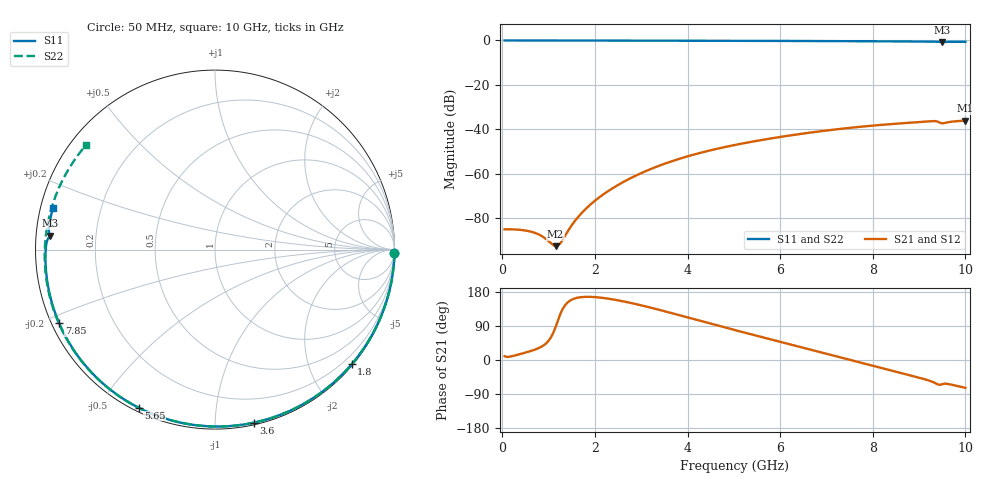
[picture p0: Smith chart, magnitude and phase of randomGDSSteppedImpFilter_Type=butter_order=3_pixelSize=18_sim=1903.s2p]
! freq	dB(S11)	phase(S11)	dB(S12)	phase(S12)
!  dB(S21)	phase(S21)	dB(S22)	phase(S22)
!S-par simulation data
#  GHz  S  DB  R 50
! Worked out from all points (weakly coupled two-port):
!   200 points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, 50 MHz to 10 GHz, reference 50 ohm
!   highest |S21| = -36.02 dB at 10 GHz (marker M1); lowest = -92.5 dB at 1.15 GHz (marker M2)
!   lowest |S11| = -0.7 dB at 9.5 GHz (marker M3), VSWR 25.06, Z = 2 + j2.08 ohm
!   |S11| at or under -10 dB: nowhere
!   |S22| runs from -0.7 to 0.0 dB; largest |S21 - S12| = 0
!   S11 on the Smith chart (normalised r, x): 50 MHz: open; 1.8 GHz: 0.03, -2.75; 3.6 GHz: 0.02, -1.25; 5.65 GHz: 0.02, -0.63; 7.85 GHz: 0.02, -0.22; 10 GHz: 0.04, +0.13
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0.05  -0.00 -1.1  -84.94 10.0  -84.94 10.0  -0.00 -1.2
0.6  -0.01 -13.6  -85.87 23.1  -85.87 23.1  -0.01 -13.9
1.15  -0.03 -25.8  -92.49 86.6  -92.49 86.6  -0.03 -26.4
1.6  -0.05 -35.7  -80.32 163.7  -80.32 163.7  -0.05 -36.5
1.75  -0.05 -38.9  -76.80 166.4  -76.80 166.4  -0.05 -39.9
1.8  -0.05 -40.0  -75.76 166.7  -75.76 166.7  -0.05 -41.0
2.1  -0.06 -46.4  -70.45 164.9  -70.45 164.9  -0.06 -47.6
2.5  -0.07 -54.9  -64.97 157.4  -64.97 157.4  -0.07 -56.4
2.95  -0.08 -64.2  -60.12 145.7  -60.12 145.7  -0.09 -66.0
3.4  -0.10 -73.3  -56.22 132.0  -56.22 132.0  -0.10 -75.5
3.6  -0.10 -77.3  -54.73 125.6  -54.73 125.6  -0.11 -79.7
4.3  -0.13 -90.8  -50.40 102.6  -50.40 102.6  -0.13 -94.1
5.05  -0.16 -104.9  -46.87 78.1  -46.87 78.1  -0.17 -109.2
5.65  -0.19 -115.8  -44.58 59.0  -44.58 59.0  -0.20 -121.2
6.7  -0.26 -134.5  -41.28 26.0  -41.28 26.0  -0.28 -142.3
7.3  -0.30 -145.0  -39.75 7.0  -39.75 7.0  -0.34 -154.6
7.85  -0.35 -154.7  -38.57 -10.5  -38.57 -10.5  -0.39 -166.4
8.35  -0.40 -163.7  -37.68 -26.3  -37.68 -26.3  -0.45 -177.5
8.85  -0.46 -172.8  -36.91 -42.0  -36.91 -42.0  -0.51 170.8
9.3  -0.53 178.5  -36.26 -58.2  -36.26 -58.2  -0.58 159.7
9.5  -0.69 175.2  -37.28 -63.8  -37.28 -63.8  -0.61 154.5
10  -0.61 165.6  -36.02 -73.5  -36.02 -73.5  -0.68 141.0
